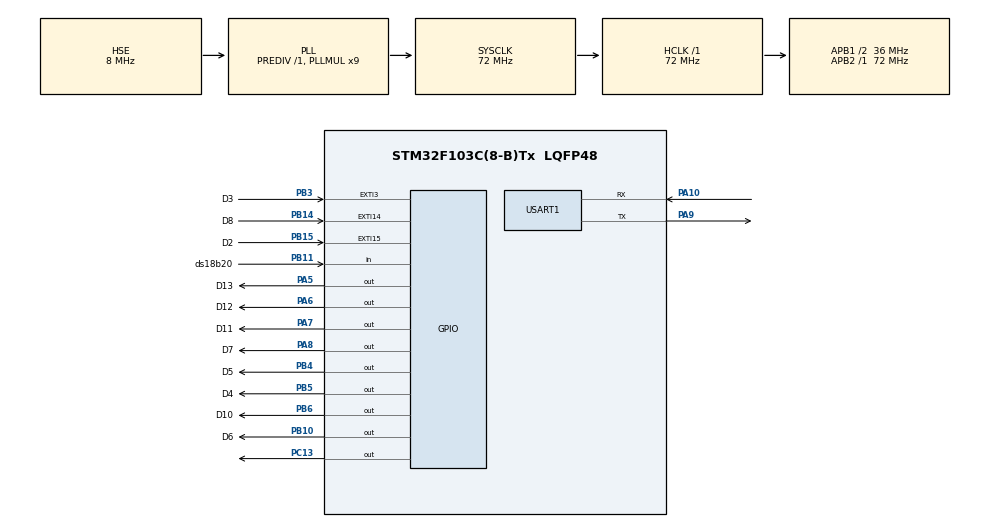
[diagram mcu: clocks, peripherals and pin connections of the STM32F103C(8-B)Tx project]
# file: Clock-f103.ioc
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IWDG.Prescaler=IWDG_PRESCALER_32
Mcu.Family=STM32F1
Mcu.Name=STM32F103C(8-B)Tx
Mcu.Package=LQFP48
NVIC.EXTI15_10_IRQn=true\:0\:0\:false\:false\:true\:true\:true
NVIC.EXTI3_IRQn=true\:0\:0\:false\:false\:true\:true\:true
NVIC.PriorityGroup=NVIC_PRIORITYGROUP_4
NVIC.RCC_IRQn=true\:0\:0\:false\:false\:true\:true\:false
PA10.Mode=Asynchronous
PA10.Signal=USART1_RX
PA13.Mode=Serial_Wire
PA13.Signal=SYS_JTMS-SWDIO
PA14.Mode=Serial_Wire
PA14.Signal=SYS_JTCK-SWCLK
PA5.GPIO_Label=D13
PA5.Signal=GPIO_Output
PA6.GPIO_Label=D12
PA6.Signal=GPIO_Output
PA7.GPIO_Label=D11
PA7.Signal=GPIO_Output
PA8.GPIO_Label=D7
PA8.Signal=GPIO_Output
PA9.Mode=Asynchronous
PA9.Signal=USART1_TX
PB10.GPIO_Label=D6
PB10.Signal=GPIO_Output
PB11.GPIO_Label=ds18b20
PB11.Signal=GPIO_Input
PB14.GPIO_Label=D8
PB14.GPIO_ModeDefaultEXTI=GPIO_MODE_IT_FALLING
PB14.Signal=GPXTI14
PB15.GPIO_Label=D2
PB15.GPIO_ModeDefaultEXTI=GPIO_MODE_IT_FALLING
PB15.Signal=GPXTI15
PB3.GPIO_Label=D3
PB3.GPIO_ModeDefaultEXTI=GPIO_MODE_IT_FALLING
PB3.Signal=GPXTI3
PB4.GPIO_Label=D5
PB4.Signal=GPIO_Output
PB5.GPIO_Label=D4
PB5.Signal=GPIO_Output
PB6.GPIO_Label=D10
PB6.Signal=GPIO_Output
PC13-TAMPER-RTC.Signal=GPIO_Output
PC14-OSC32_IN.Mode=LSE-External-Oscillator
PC14-OSC32_IN.Signal=RCC_OSC32_IN
PC15-OSC32_OUT.Mode=LSE-External-Oscillator
PC15-OSC32_OUT.Signal=RCC_OSC32_OUT
PD0-OSC_IN.Mode=HSE-External-Oscillator
PD0-OSC_IN.Signal=RCC_OSC_IN
PD1-OSC_OUT.Mode=HSE-External-Oscillator
PD1-OSC_OUT.Signal=RCC_OSC_OUT
ProjectManager.HeapSize=0x200
ProjectManager.StackSize=0x400
ProjectManager.TargetToolchain=MDK-ARM V5.32
RCC.AHBFreq_Value=72000000
RCC.APB1CLKDivider=RCC_HCLK_DIV2
RCC.APB1Freq_Value=36000000
RCC.APB1TimFreq_Value=72000000
RCC.APB2Freq_Value=72000000
RCC.APB2TimFreq_Value=72000000
RCC.HCLKFreq_Value=72000000
RCC.PLLMUL=RCC_PLL_MUL9
RCC.PLLSourceVirtual=RCC_PLLSOURCE_HSE
RCC.RTCClockSelection=RCC_RTCCLKSOURCE_LSE
RCC.SYSCLKFreq_VALUE=72000000
RCC.SYSCLKSource=RCC_SYSCLKSOURCE_PLLCLK
RCC.USBFreq_Value=72000000
RTC.Hours=12
RTC.Minutes=12
USART1.VirtualMode=VM_ASYNC
VP_IWDG_VS_IWDG.Mode=IWDG_Activate
VP_RTC_VS_RTC_Activate.Mode=RTC_Enabled
VP_RTC_VS_RTC_Calendar.Mode=RTC_Calendar
board=custom

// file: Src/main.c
/* USER CODE BEGIN Header */
/**
  ******************************************************************************
  * @file           : main.c
  * @brief          : Main program body Nixe tube clock project
  ******************************************************************************
  ** This notice applies to any and all portions of this file
  * that are not between comment pairs USER CODE BEGIN and
  * USER CODE END. Other portions of this file, whether
  * inserted by the user or by software development tools
  * are owned by their respective copyright owners.
  *
  * COPYRIGHT(c) 2019 STMicroelectronics
  *
  * Redistribution and use in source and binary forms, with or without modification,
  * are permitted provided that the following conditions are met:
  *   1. Redistributions of source code must retain the above copyright notice,
  *      this list of conditions and the following disclaimer.
  *   2. Redistributions in binary form must reproduce the above copyright notice,
  *      this list of conditions and the following disclaimer in the documentation
  *      and/or other materials provided with the distribution.
  *   3. Neither the name of STMicroelectronics nor the names of its contributors
  *      may be used to endorse or promote products derived from this software
  *      without specific prior written permission.
  *
  * THIS SOFTWARE IS PROVIDED BY THE COPYRIGHT HOLDERS AND CONTRIBUTORS "AS IS"
  * AND ANY EXPRESS OR IMPLIED WARRANTIES, INCLUDING, BUT NOT LIMITED TO, THE
  * IMPLIED WARRANTIES OF MERCHANTABILITY AND FITNESS FOR A PARTICULAR PURPOSE ARE
  * DISCLAIMED. IN NO EVENT SHALL THE COPYRIGHT HOLDER OR CONTRIBUTORS BE LIABLE
  * FOR ANY DIRECT, INDIRECT, INCIDENTAL, SPECIAL, EXEMPLARY, OR CONSEQUENTIAL
  * DAMAGES (INCLUDING, BUT NOT LIMITED TO, PROCUREMENT OF SUBSTITUTE GOODS OR
  * SERVICES; LOSS OF USE, DATA, OR PROFITS; OR BUSINESS INTERRUPTION) HOWEVER
  * CAUSED AND ON ANY THEORY OF LIABILITY, WHETHER IN CONTRACT, STRICT LIABILITY,
  * OR TORT (INCLUDING NEGLIGENCE OR OTHERWISE) ARISING IN ANY WAY OUT OF THE USE
  * OF THIS SOFTWARE, EVEN IF ADVISED OF THE POSSIBILITY OF SUCH DAMAGE.
  *
  ******************************************************************************
  */
/* USER CODE END Header */
#include "main.h"

/* USER CODE BEGIN Includes */
#include <stdio.h>
#include <stdbool.h>

#include "driverNixeTube.h"
#include "smooth.h"
#include "ds18b20.h"
#include "UART.h"
#include "hard.h"

/* USER CODE END Includes */

/* USER CODE BEGIN PD */
#define DEBUG             false
/* USER CODE END PD */

IWDG_HandleTypeDef hiwdg;

RTC_HandleTypeDef hrtc;

UART_HandleTypeDef huart1;

/* USER CODE BEGIN PV */

RTC_DateTypeDef RTC_Date;
RTC_TimeTypeDef RTC_Time;

extern uint32_t time_exti3_irq;
extern uint32_t time_exti15_irq;

static bool flagDataOut, flagTempOut;
bool setHoursButton = false, setMinitButton = false, timeSetButton = false;

const uint8_t antiChatter_ms = 45; // https://istarik.ru/blog/stm32/148.html

static const uint8_t hello_clock_str[]= "**** Hello Clock! ****\r\n";
static char bufUart[30];

static float temperature;

static uint16_t count_2ms;

/* USER CODE END PV */

void SystemClock_Config(void);
static void MX_GPIO_Init(void);
static void MX_USART1_UART_Init(void);
static void MX_RTC_Init(void);
static void MX_IWDG_Init(void);

/* USER CODE BEGIN 0 */
void time_out(void)
{
  setValue(RTC_Time.Hours / 10, 0);
  DelayMicro(500);
  setValue(RTC_Time.Hours % 10, 1);
  DelayMicro(500);
  setValue(RTC_Time.Minutes / 10, 2);
  DelayMicro(500);
  setValue(RTC_Time.Minutes % 10, 3);
  DelayMicro(500);
}

void temper_out(void)   // выполняеться за 2 мс
{
  int temper_int = temperature * 100;
  setValue(temper_int / 1000, 0);
  DelayMicro(500);
  setValue((temper_int / 100) % 10, 1);
  DelayMicro(500);
  setValue((temper_int / 10) % 10, 2);
  DelayMicro(500);
#if 0
  setValue(temper_int % 10, 3);
#else
  setVoidPosition();
#endif
  DelayMicro(500);
}

static void tempDataOutput(void)
{
  if (flagDataOut == false)   // 200-250 мС https://habr.com/ru/post/431868/
  {
    smooth_transition_time();
    flagDataOut = true;
    flagTempOut = false;
  }
  else
  {
    temper_out();
  }
}

static void timeDataOutput(void)
{
  if (flagTempOut == false)
  {
    smooth_transition_temp();
    flagTempOut = true;
    flagDataOut = false;
  }
  else
  {
    time_out();
  }
}

static void checkButtonTemp(void)
{
  uint16_t timeDelay = 950u;

  if((HAL_GetTick() - time_exti15_irq) > antiChatter_ms)
  {
    if (HAL_GPIO_ReadPin(GPIOB, GPIO_PIN_15) == 0)
    {
      smooth_transition_time();
      while (--timeDelay)
      {
        temper_out();
      }
      smooth_transition_temp();
    }

    timeSetButton = false;
    __HAL_GPIO_EXTI_CLEAR_IT(GPIO_PIN_15);
    NVIC_ClearPendingIRQ(EXTI15_10_IRQn);
    HAL_NVIC_EnableIRQ(EXTI15_10_IRQn);
  }
}

static void checkButtonSetHours(void)
{
  if((HAL_GetTick() - time_exti3_irq) > antiChatter_ms)
  {
    if ((RTC_Time.Hours < 24u)&&(HAL_GPIO_ReadPin(GPIOB, GPIO_PIN_3) == 0))
    {
      RTC_Time.Hours++;
      HAL_RTC_SetTime(&hrtc, &RTC_Time, RTC_FORMAT_BIN);
    }

    setHoursButton = false;
    __HAL_GPIO_EXTI_CLEAR_IT(GPIO_PIN_3);
    NVIC_ClearPendingIRQ(EXTI3_IRQn);
    HAL_NVIC_EnableIRQ(EXTI3_IRQn);
  }
}

static void checkButtonSetMinutes(void)
{
  if((HAL_GetTick() - time_exti15_irq) > antiChatter_ms)
  {
    if (HAL_GPIO_ReadPin(GPIOB, GPIO_PIN_14)== 0)
    {
      if ((RTC_Time.Minutes < 59u))
      {
        RTC_Time.Minutes++;
        HAL_RTC_SetTime(&hrtc, &RTC_Time, RTC_FORMAT_BIN);
      }
      else
      {
        RTC_Time.Minutes = 0;
        HAL_RTC_SetTime(&hrtc, &RTC_Time, RTC_FORMAT_BIN);
      }
    }

    setMinitButton = false;
    __HAL_GPIO_EXTI_CLEAR_IT(GPIO_PIN_14);  // очищаем бит EXTI_PR
    NVIC_ClearPendingIRQ(EXTI15_10_IRQn);   // очищаем бит NVIC_ICPRx
    HAL_NVIC_EnableIRQ(EXTI15_10_IRQn);     // включаем внешнее прерывание
  }
}

static void DS18b20Convert(void)
{
  uint8_t dt[8];

  ds18b20_ReadStratcpad(SKIP_ROM, dt, 0);
  uint16_t raw_temper = ((uint16_t) dt[1] << 8) | dt[0];
  temperature = ds18b20_Convert(raw_temper);
}

static void read_DS18b20_process(void)
{
  if (count_2ms == 1)
  {
    ds18b20_MeasureTemperCmd(SKIP_ROM, 0);
  }
  else if (count_2ms == 430)
  {
    DS18b20Convert();
  }
  else if (count_2ms == 500)
  {
#if DEBUG
    sprintf(bufUart,"t,C: %f\r\n", temper);
    sendUART((uint8_t *)bufUart);
    sprintf(bufUart,"s: %d\r\n", RTC_Time.Seconds);
    sendUART((uint8_t *)bufUart);
    sprintf(bufUart,"s: %d\r\n", count_2ms);
    sendUART((uint8_t *)bufUart);
#endif
  }
  count_2ms++;
}

static void resetValue_count_2ms(void)
{
  count_2ms = 0;
}

/* USER CODE END 0 */

int main(void)
{

  /* MCU Configuration--------------------------------------------------------*/

  /* Reset of all peripherals, Initializes the Flash interface and the Systick. */
  HAL_Init();

  /* Configure the system clock */
  SystemClock_Config();

  /* Initialize all configured peripherals */
  MX_GPIO_Init();
  MX_USART1_UART_Init();
  MX_RTC_Init();
  MX_IWDG_Init();
  /* USER CODE BEGIN 2 */

  sendUART((uint8_t *)hello_clock_str);
  sendUART_SNversion();

  port_init();
  uint8_t status = ds18b20_init(SKIP_ROM);
  sprintf(bufUart,"Init Status ds18b20: %d\r\n", status);
  sendUART((uint8_t *)bufUart);

  HAL_RTC_GetTime(&hrtc, &RTC_Time, RTC_FORMAT_BIN);
  sendTimeUart();

  ds18b20_MeasureTemperCmd(SKIP_ROM, 0);
  enumeration(); //delay min 750 мс
  DS18b20Convert();
  sprintf(bufUart,"temperature: %3.4f\r\n", temperature);
  sendUART((uint8_t *)bufUart);

  sendAsciiGit();
  /* USER CODE END 2 */

  /* Infinite loop */
  /* USER CODE BEGIN WHILE */
  while (1)
  {
/*
*  Внимание!! при генерации кода в кубе - стирается коментирование в инициалзации  MX_RTC_Init()
*  - для работы необходимо закомментировать установку времени и даты - для сохранения данных при потере питания
*/
#if DATE
    HAL_RTC_GetDate(&hrtc, &RTC_Date, RTC_FORMAT_BIN);
#endif
    HAL_RTC_GetTime(&hrtc, &RTC_Time, RTC_FORMAT_BIN);

    if (((RTC_Time.Seconds > 0u)&&(RTC_Time.Seconds < 5u))||((RTC_Time.Seconds > 20u) \
    &&(RTC_Time.Seconds < 25u))||((RTC_Time.Seconds > 40u)&&(RTC_Time.Seconds < 45u)))
    {
      tempDataOutput();
    }
    else
    {
      timeDataOutput();
    }

    if (timeSetButton)  // показ температуры
    {
      checkButtonTemp();
    }
    if (setMinitButton) // установка минут
    {
      checkButtonSetMinutes();
    }
    if (setHoursButton)  // установка часов
    {
      checkButtonSetHours();
    }

	  /* Чтение датчика температуры происходит три раза в минуту */
    if ((RTC_Time.Seconds == 19u)||(RTC_Time.Seconds == 39u)||(RTC_Time.Seconds == 59u))
    {
      read_DS18b20_process();
    }
    else
    {
      resetValue_count_2ms();
    }
    /* USER CODE END WHILE */
    /* USER CODE BEGIN 3 */

    heartbeatDrive(RTC_Time.Seconds);

    HAL_IWDG_Refresh(&hiwdg); // 5 cекунд на зависание
  }
  /* USER CODE END 3 */
}

void SystemClock_Config(void)
{
  RCC_OscInitTypeDef RCC_OscInitStruct = {0};
  RCC_ClkInitTypeDef RCC_ClkInitStruct = {0};
  RCC_PeriphCLKInitTypeDef PeriphClkInit = {0};

  /** Initializes the RCC Oscillators according to the specified parameters
  * in the RCC_OscInitTypeDef structure.
  */
  RCC_OscInitStruct.OscillatorType = RCC_OSCILLATORTYPE_LSI|RCC_OSCILLATORTYPE_HSE
                              |RCC_OSCILLATORTYPE_LSE;
  RCC_OscInitStruct.HSEState = RCC_HSE_ON;
  RCC_OscInitStruct.HSEPredivValue = RCC_HSE_PREDIV_DIV1;
  RCC_OscInitStruct.LSEState = RCC_LSE_ON;
  RCC_OscInitStruct.HSIState = RCC_HSI_ON;
  RCC_OscInitStruct.LSIState = RCC_LSI_ON;
  RCC_OscInitStruct.PLL.PLLState = RCC_PLL_ON;
  RCC_OscInitStruct.PLL.PLLSource = RCC_PLLSOURCE_HSE;
  RCC_OscInitStruct.PLL.PLLMUL = RCC_PLL_MUL9;
  if (HAL_RCC_OscConfig(&RCC_OscInitStruct) != HAL_OK)
  {
    Error_Handler();
  }
  /** Initializes the CPU, AHB and APB buses clocks
  */
  RCC_ClkInitStruct.ClockType = RCC_CLOCKTYPE_HCLK|RCC_CLOCKTYPE_SYSCLK
                              |RCC_CLOCKTYPE_PCLK1|RCC_CLOCKTYPE_PCLK2;
  RCC_ClkInitStruct.SYSCLKSource = RCC_SYSCLKSOURCE_PLLCLK;
  RCC_ClkInitStruct.AHBCLKDivider = RCC_SYSCLK_DIV1;
  RCC_ClkInitStruct.APB1CLKDivider = RCC_HCLK_DIV2;
  RCC_ClkInitStruct.APB2CLKDivider = RCC_HCLK_DIV1;

  if (HAL_RCC_ClockConfig(&RCC_ClkInitStruct, FLASH_LATENCY_2) != HAL_OK)
  {
    Error_Handler();
  }
  PeriphClkInit.PeriphClockSelection = RCC_PERIPHCLK_RTC;
  PeriphClkInit.RTCClockSelection = RCC_RTCCLKSOURCE_LSE;
  if (HAL_RCCEx_PeriphCLKConfig(&PeriphClkInit) != HAL_OK)
  {
    Error_Handler();
  }
}

static void MX_IWDG_Init(void)
{

  hiwdg.Instance = IWDG;
  hiwdg.Init.Prescaler = IWDG_PRESCALER_32;
  hiwdg.Init.Reload = 4095;
  if (HAL_IWDG_Init(&hiwdg) != HAL_OK)
  {
    Error_Handler();
  }

}

static void MX_RTC_Init(void)
{

/*
  RTC_TimeTypeDef sTime = {0};
  RTC_DateTypeDef DateToUpdate = {0};
*/
  /** Initialize RTC Only
  */
  hrtc.Instance = RTC;
  hrtc.Init.AsynchPrediv = RTC_AUTO_1_SECOND;
  hrtc.Init.OutPut = RTC_OUTPUTSOURCE_ALARM;
  if (HAL_RTC_Init(&hrtc) != HAL_OK)
  {
    Error_Handler();
  }

  /** Initialize RTC and set the Time and Date
  */
 /*
  sTime.Hours = 0x12;
  sTime.Minutes = 0x12;
  sTime.Seconds = 0x0;

  if (HAL_RTC_SetTime(&hrtc, &sTime, RTC_FORMAT_BCD) != HAL_OK)
  {
    Error_Handler();
  }
  DateToUpdate.WeekDay = RTC_WEEKDAY_MONDAY;
  DateToUpdate.Month = RTC_MONTH_JANUARY;
  DateToUpdate.Date = 0x1;
  DateToUpdate.Year = 0x0;

  if (HAL_RTC_SetDate(&hrtc, &DateToUpdate, RTC_FORMAT_BCD) != HAL_OK)
  {
    Error_Handler();
  }
  */

}

static void MX_USART1_UART_Init(void)
{

  huart1.Instance = USART1;
  huart1.Init.BaudRate = 115200;
  huart1.Init.WordLength = UART_WORDLENGTH_8B;
  huart1.Init.StopBits = UART_STOPBITS_1;
  huart1.Init.Parity = UART_PARITY_NONE;
  huart1.Init.Mode = UART_MODE_TX_RX;
  huart1.Init.HwFlowCtl = UART_HWCONTROL_NONE;
  huart1.Init.OverSampling = UART_OVERSAMPLING_16;
  if (HAL_UART_Init(&huart1) != HAL_OK)
  {
    Error_Handler();
  }

}

static void MX_GPIO_Init(void)
{
  GPIO_InitTypeDef GPIO_InitStruct = {0};

  /* GPIO Ports Clock Enable */
  __HAL_RCC_GPIOC_CLK_ENABLE();
  __HAL_RCC_GPIOD_CLK_ENABLE();
  __HAL_RCC_GPIOA_CLK_ENABLE();
  __HAL_RCC_GPIOB_CLK_ENABLE();

  /*Configure GPIO pin Output Level */
  HAL_GPIO_WritePin(GPIOC, GPIO_PIN_13, GPIO_PIN_RESET);

  /*Configure GPIO pin Output Level */
  HAL_GPIO_WritePin(GPIOA, D13_Pin|D12_Pin|D11_Pin|D7_Pin, GPIO_PIN_RESET);

  /*Configure GPIO pin Output Level */
  HAL_GPIO_WritePin(GPIOB, D6_Pin|D5_Pin|D4_Pin|D10_Pin, GPIO_PIN_RESET);

  /*Configure GPIO pin : PC13 */
  GPIO_InitStruct.Pin = GPIO_PIN_13;
  GPIO_InitStruct.Mode = GPIO_MODE_OUTPUT_PP;
  GPIO_InitStruct.Pull = GPIO_NOPULL;
  GPIO_InitStruct.Speed = GPIO_SPEED_FREQ_LOW;
  HAL_GPIO_Init(GPIOC, &GPIO_InitStruct);

  /*Configure GPIO pins : D13_Pin D12_Pin D11_Pin D7_Pin */
  GPIO_InitStruct.Pin = D13_Pin|D12_Pin|D11_Pin|D7_Pin;
  GPIO_InitStruct.Mode = GPIO_MODE_OUTPUT_PP;
  GPIO_InitStruct.Pull = GPIO_NOPULL;
  GPIO_InitStruct.Speed = GPIO_SPEED_FREQ_LOW;
  HAL_GPIO_Init(GPIOA, &GPIO_InitStruct);

  /*Configure GPIO pins : D6_Pin D5_Pin D4_Pin D10_Pin */
  GPIO_InitStruct.Pin = D6_Pin|D5_Pin|D4_Pin|D10_Pin;
  GPIO_InitStruct.Mode = GPIO_MODE_OUTPUT_PP;
  GPIO_InitStruct.Pull = GPIO_NOPULL;
  GPIO_InitStruct.Speed = GPIO_SPEED_FREQ_LOW;
  HAL_GPIO_Init(GPIOB, &GPIO_InitStruct);

  /*Configure GPIO pin : ds18b20_Pin */
  GPIO_InitStruct.Pin = ds18b20_Pin;
  GPIO_InitStruct.Mode = GPIO_MODE_INPUT;
  GPIO_InitStruct.Pull = GPIO_NOPULL;
  HAL_GPIO_Init(ds18b20_GPIO_Port, &GPIO_InitStruct);

  /*Configure GPIO pins : D8_Pin D2_Pin D3_Pin */
  GPIO_InitStruct.Pin = D8_Pin|D2_Pin|D3_Pin;
  GPIO_InitStruct.Mode = GPIO_MODE_IT_FALLING;
  GPIO_InitStruct.Pull = GPIO_NOPULL;
  HAL_GPIO_Init(GPIOB, &GPIO_InitStruct);

  /* EXTI interrupt init*/
  HAL_NVIC_SetPriority(EXTI3_IRQn, 0, 0);
  HAL_NVIC_EnableIRQ(EXTI3_IRQn);

  HAL_NVIC_SetPriority(EXTI15_10_IRQn, 0, 0);
  HAL_NVIC_EnableIRQ(EXTI15_10_IRQn);

}

void Error_Handler(void)
{
  /* USER CODE BEGIN Error_Handler_Debug */
  /* User can add his own implementation to report the HAL error return state */
#if DEBUG
  sendUART("HAL_Error!");
#endif
  /* USER CODE END Error_Handler_Debug */
}

/************************ (C) COPYRIGHT STMicroelectronics *****END OF FILE****/
